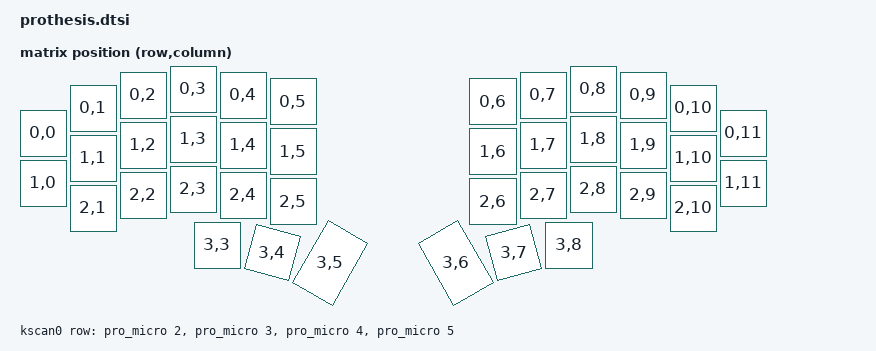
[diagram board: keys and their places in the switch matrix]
#include <dt-bindings/zmk/matrix_transform.h> // Put this with the other includes at the top of your dtsi
#include <physical_layouts.dtsi>

/ {
    kscan0: kscan0 {
        compatible = "zmk,kscan-gpio-matrix";
        diode-direction = "col2row";
        wakeup-source;

        row-gpios
            = <&pro_micro 2 (GPIO_ACTIVE_HIGH | GPIO_PULL_DOWN)>
            , <&pro_micro 3 (GPIO_ACTIVE_HIGH | GPIO_PULL_DOWN)>
            , <&pro_micro 4 (GPIO_ACTIVE_HIGH | GPIO_PULL_DOWN)>
            , <&pro_micro 5 (GPIO_ACTIVE_HIGH | GPIO_PULL_DOWN)>
            ;

    };
};

/ {
    default_transform: keymap_transform0 {
        compatible = "zmk,matrix-transform";
        columns = <12>;
        rows = <4>;
        map = <
            RC(0,0) RC(0,1) RC(0,2) RC(0,3) RC(0,4) RC(0,5)     RC(0,6) RC(0,7) RC(0,8) RC(0,9) RC(0,10) RC(0,11)

            RC(1,0) RC(1,1) RC(1,2) RC(1,3) RC(1,4) RC(1,5)     RC(1,6) RC(1,7) RC(1,8) RC(1,9) RC(1,10) RC(1,11)

                    RC(2,1) RC(2,2) RC(2,3) RC(2,4) RC(2,5)     RC(2,6) RC(2,7) RC(2,8) RC(2,9) RC(2,10)

                                    RC(3,3) RC(3,4) RC(3,5)     RC(3,6) RC(3,7) RC(3,8)
        >;
    };
};

/ {
    physical_layout0: physical_layout_0 { // First physical layout, use different naming for other layouts
        compatible = "zmk,physical-layout";
        display-name = "Default Layout";
        kscan = <&kscan0>; // Label of the kscan node, optional if all layouts use the same
        transform = <&default_transform>; // Label of the matrix transform for this layout
        keys  //                     w   h    x    y     rot    rx    ry
            = <&key_physical_attrs 100 100    0   88       0     0     0>
            , <&key_physical_attrs 100 100  100   38       0     0     0>
            , <&key_physical_attrs 100 100  200   12       0     0     0>
            , <&key_physical_attrs 100 100  300    0       0     0     0>
            , <&key_physical_attrs 100 100  400   12       0     0     0>
            , <&key_physical_attrs 100 100  500   25       0     0     0>
            , <&key_physical_attrs 100 100  900   25       0     0     0>
            , <&key_physical_attrs 100 100 1000   12       0     0     0>
            , <&key_physical_attrs 100 100 1100    0       0     0     0>
            , <&key_physical_attrs 100 100 1200   12       0     0     0>
            , <&key_physical_attrs 100 100 1300   38       0     0     0>
            , <&key_physical_attrs 100 100 1400   88       0     0     0>
            , <&key_physical_attrs 100 100    0  188       0     0     0>
            , <&key_physical_attrs 100 100  100  138       0     0     0>
            , <&key_physical_attrs 100 100  200  112       0     0     0>
            , <&key_physical_attrs 100 100  300  100       0     0     0>
            , <&key_physical_attrs 100 100  400  112       0     0     0>
            , <&key_physical_attrs 100 100  500  125       0     0     0>
            , <&key_physical_attrs 100 100  900  125       0     0     0>
            , <&key_physical_attrs 100 100 1000  112       0     0     0>
            , <&key_physical_attrs 100 100 1100  100       0     0     0>
            , <&key_physical_attrs 100 100 1200  112       0     0     0>
            , <&key_physical_attrs 100 100 1300  138       0     0     0>
            , <&key_physical_attrs 100 100 1400  188       0     0     0>
            , <&key_physical_attrs 100 100  100  238       0     0     0>
            , <&key_physical_attrs 100 100  200  212       0     0     0>
            , <&key_physical_attrs 100 100  300  200       0     0     0>
            , <&key_physical_attrs 100 100  400  212       0     0     0>
            , <&key_physical_attrs 100 100  500  225       0     0     0>
            , <&key_physical_attrs 100 100  900  225       0     0     0>
            , <&key_physical_attrs 100 100 1000  212       0     0     0>
            , <&key_physical_attrs 100 100 1100  200       0     0     0>
            , <&key_physical_attrs 100 100 1200  212       0     0     0>
            , <&key_physical_attrs 100 100 1300  238       0     0     0>
            , <&key_physical_attrs 100 100  348  312       0     0     0>
            , <&key_physical_attrs 100 100  348  312    1500   398   790>
            , <&key_physical_attrs 100 150  348  262    3000   398   790>
            , <&key_physical_attrs 100 150 1052  262 (-3000)  1102   790>
            , <&key_physical_attrs 100 100 1052  312 (-1500)  1102   790>
            , <&key_physical_attrs 100 100 1052  312       0     0     0>
            ;
    };
};

/ {
    chosen {
        zmk,physical-layout = &physical_layout0;
        // Other chosen items
    };
};

/ {
};

&pinctrl {
    spi0_default: spi0_default {
        group1 {
            psels = <NRF_PSEL(SPIM_SCK, 1, 13)>,
                <NRF_PSEL(SPIM_MOSI, 0, 10)>,
                <NRF_PSEL(SPIM_MISO, 0, 19)>;
        };
    };

    spi0_sleep: spi0_sleep {
        group1 {
            psels = <NRF_PSEL(SPIM_SCK, 1, 13)>,
                <NRF_PSEL(SPIM_MOSI, 0, 10)>,
                <NRF_PSEL(SPIM_MISO, 0, 19)>;
            low-power-enable;
        };
    };
};

nice_view_spi: &spi0 {
    compatible = "nordic,nrf-spim";
    status = "okay";

    pinctrl-0 = <&spi0_default>;
    pinctrl-1 = <&spi0_sleep>;
    pinctrl-names = "default", "sleep";

    cs-gpios = <&pro_micro 10 GPIO_ACTIVE_HIGH>;
};
